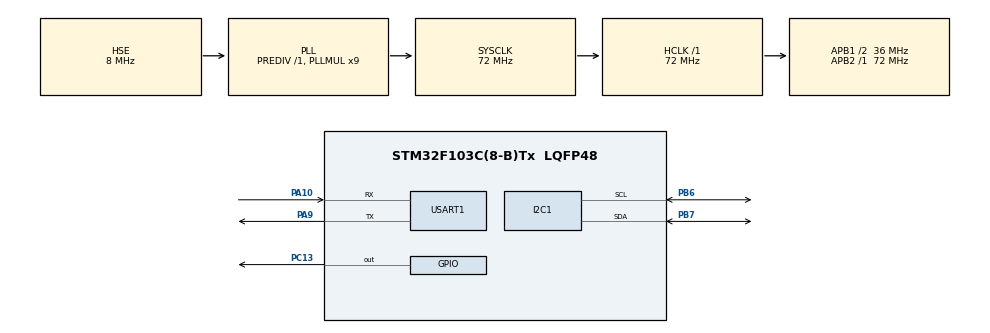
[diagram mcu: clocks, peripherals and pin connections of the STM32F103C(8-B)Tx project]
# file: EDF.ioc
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Mcu.Family=STM32F1
Mcu.Name=STM32F103C(8-B)Tx
Mcu.Package=LQFP48
NVIC.PriorityGroup=NVIC_PRIORITYGROUP_4
PA10.Mode=Asynchronous
PA10.Signal=USART1_RX
PA13.Mode=Serial_Wire
PA13.Signal=SYS_JTMS-SWDIO
PA14.Mode=Serial_Wire
PA14.Signal=SYS_JTCK-SWCLK
PA9.Mode=Asynchronous
PA9.Signal=USART1_TX
PB6.Mode=I2C
PB6.Signal=I2C1_SCL
PB7.Mode=I2C
PB7.Signal=I2C1_SDA
PC13-TAMPER-RTC.Signal=GPIO_Output
PC14-OSC32_IN.Mode=LSE-External-Oscillator
PC14-OSC32_IN.Signal=RCC_OSC32_IN
PC15-OSC32_OUT.Mode=LSE-External-Oscillator
PC15-OSC32_OUT.Signal=RCC_OSC32_OUT
PD0-OSC_IN.Mode=HSE-External-Oscillator
PD0-OSC_IN.Signal=RCC_OSC_IN
PD1-OSC_OUT.Mode=HSE-External-Oscillator
PD1-OSC_OUT.Signal=RCC_OSC_OUT
ProjectManager.HeapSize=0x200
ProjectManager.StackSize=0x400
ProjectManager.TargetToolchain=STM32CubeIDE
RCC.AHBFreq_Value=72000000
RCC.APB1CLKDivider=RCC_HCLK_DIV2
RCC.APB1Freq_Value=36000000
RCC.APB1TimFreq_Value=72000000
RCC.APB2Freq_Value=72000000
RCC.APB2TimFreq_Value=72000000
RCC.HCLKFreq_Value=72000000
RCC.PLLMUL=RCC_PLL_MUL9
RCC.PLLSourceVirtual=RCC_PLLSOURCE_HSE
RCC.SYSCLKFreq_VALUE=72000000
RCC.SYSCLKSource=RCC_SYSCLKSOURCE_PLLCLK
RCC.USBFreq_Value=72000000
USART1.VirtualMode=VM_ASYNC
board=custom

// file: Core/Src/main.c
/* USER CODE BEGIN Header */
/**
  ******************************************************************************
  * @file           : main.c
  * @brief          : Main program body
  ******************************************************************************
  * @attention
  *
  * Copyright (c) 2025 STMicroelectronics.
  * All rights reserved.
  *
  * This software is licensed under terms that can be found in the LICENSE file
  * in the root directory of this software component.
  * If no LICENSE file comes with this software, it is provided AS-IS.
  *
  ******************************************************************************
  */
/* USER CODE END Header */
#include "main.h"

/* USER CODE BEGIN Includes */
#include "liquidcrystal_i2c.h"
#include "stdio.h"
#include "MPR121.h"
#include "bmp180_for_stm32_hal.h"
#include "string.h"
#include "stdlib.h"
/* USER CODE END Includes */

/* USER CODE BEGIN PTD */
#include "funtion.h"
/* USER CODE END PTD */

I2C_HandleTypeDef hi2c1;

UART_HandleTypeDef huart1;

void SystemClock_Config(void);
static void MX_GPIO_Init(void);
static void MX_I2C1_Init(void);
static void MX_USART1_UART_Init(void);

int main(void)
{

  /* MCU Configuration--------------------------------------------------------*/

  /* Reset of all peripherals, Initializes the Flash interface and the Systick. */
  HAL_Init();

  /* Configure the system clock */
  SystemClock_Config();

  /* Initialize all configured peripherals */
  MX_GPIO_Init();
  MX_I2C1_Init();
  MX_USART1_UART_Init();
  /* USER CODE BEGIN 2 */
  HD44780_Init(2);
  MPR121_Init();
  BMP180_Init(&hi2c1);
  MPR121_Init();
  BMP180_SetOversampling(BMP180_ULTRA);
  BMP180_UpdateCalibrationData();
  HD44780_SetCursor(0,0);
  HD44780_PrintStr("INIT LCD 1602");
  char tx_buff[100] = "TVBAC 212700";
  unsigned long t1 = DWT->CYCCNT;
  /* do something */
  unsigned long t2 = DWT->CYCCNT;
  unsigned long diff = t2 - t1;

  /* USER CODE END 2 */

  /* Infinite loop */
  while (1)
  {

    /* USER CODE BEGIN 3 */
	  char tx[100] = "1";
	  t1 = DWT->CYCCNT;
	  HD44780_SetCursor(0,0);
	  HD44780_PrintStr("1111111111111111");
//	  touched();
//	  int32_t temperature = BMP180_GetRawTemperature();
//	  int32_t pressure = BMP180_GetPressure();
//	  HAL_UART_Transmit(&huart1, (uint8_t *)&tx, strlen(tx) , 1000);
	  t2 = DWT->CYCCNT;
	  diff = t2 - t1;
	  memset((void*)tx_buff,0,sizeof(tx_buff));
	  sprintf(tx_buff, "[%ld]", diff/72);
	  HD44780_SetCursor(0,1);
	  HD44780_PrintStr(tx_buff);

	  // Test UART
//	  char tx[100];
//	  for(int i = 1; i <= 50; i++)
//	  {
//		  memset((void*)tx,0,sizeof(tx));
//		  memset((void*)tx,'0',i);
////		  tx[i-1] = '\n';
//		  t1 = DWT->CYCCNT;
//		  HAL_UART_Transmit(&huart1, (uint8_t *)&tx, strlen(tx) , 1000);
//		  t2 = DWT->CYCCNT;
//		  diff = t2 - t1;
//		  sprintf(tx_buff, "] %d]]]%ld\n",i, diff/72);
//		  HAL_UART_Transmit(&huart1, (uint8_t *)&tx_buff, strlen(tx_buff) , 1000);
//		  HD44780_SetCursor(0,1);
//		  HD44780_PrintStr(tx_buff);
		  HAL_Delay(50);
//	  }
//	  HAL_Delay(20000);
  }
  /* USER CODE END 3 */
}

void SystemClock_Config(void)
{
  RCC_OscInitTypeDef RCC_OscInitStruct = {0};
  RCC_ClkInitTypeDef RCC_ClkInitStruct = {0};

  /** Initializes the RCC Oscillators according to the specified parameters
  * in the RCC_OscInitTypeDef structure.
  */
  RCC_OscInitStruct.OscillatorType = RCC_OSCILLATORTYPE_HSE;
  RCC_OscInitStruct.HSEState = RCC_HSE_ON;
  RCC_OscInitStruct.HSEPredivValue = RCC_HSE_PREDIV_DIV1;
  RCC_OscInitStruct.HSIState = RCC_HSI_ON;
  RCC_OscInitStruct.PLL.PLLState = RCC_PLL_ON;
  RCC_OscInitStruct.PLL.PLLSource = RCC_PLLSOURCE_HSE;
  RCC_OscInitStruct.PLL.PLLMUL = RCC_PLL_MUL9;
  if (HAL_RCC_OscConfig(&RCC_OscInitStruct) != HAL_OK)
  {
    Error_Handler();
  }

  /** Initializes the CPU, AHB and APB buses clocks
  */
  RCC_ClkInitStruct.ClockType = RCC_CLOCKTYPE_HCLK|RCC_CLOCKTYPE_SYSCLK
                              |RCC_CLOCKTYPE_PCLK1|RCC_CLOCKTYPE_PCLK2;
  RCC_ClkInitStruct.SYSCLKSource = RCC_SYSCLKSOURCE_PLLCLK;
  RCC_ClkInitStruct.AHBCLKDivider = RCC_SYSCLK_DIV1;
  RCC_ClkInitStruct.APB1CLKDivider = RCC_HCLK_DIV2;
  RCC_ClkInitStruct.APB2CLKDivider = RCC_HCLK_DIV1;

  if (HAL_RCC_ClockConfig(&RCC_ClkInitStruct, FLASH_LATENCY_2) != HAL_OK)
  {
    Error_Handler();
  }
}

static void MX_I2C1_Init(void)
{

  hi2c1.Instance = I2C1;
  hi2c1.Init.ClockSpeed = 100000;
  hi2c1.Init.DutyCycle = I2C_DUTYCYCLE_2;
  hi2c1.Init.OwnAddress1 = 0;
  hi2c1.Init.AddressingMode = I2C_ADDRESSINGMODE_7BIT;
  hi2c1.Init.DualAddressMode = I2C_DUALADDRESS_DISABLE;
  hi2c1.Init.OwnAddress2 = 0;
  hi2c1.Init.GeneralCallMode = I2C_GENERALCALL_DISABLE;
  hi2c1.Init.NoStretchMode = I2C_NOSTRETCH_DISABLE;
  if (HAL_I2C_Init(&hi2c1) != HAL_OK)
  {
    Error_Handler();
  }

}

static void MX_USART1_UART_Init(void)
{

  huart1.Instance = USART1;
  huart1.Init.BaudRate = 115200;
  huart1.Init.WordLength = UART_WORDLENGTH_8B;
  huart1.Init.StopBits = UART_STOPBITS_1;
  huart1.Init.Parity = UART_PARITY_NONE;
  huart1.Init.Mode = UART_MODE_TX_RX;
  huart1.Init.HwFlowCtl = UART_HWCONTROL_NONE;
  huart1.Init.OverSampling = UART_OVERSAMPLING_16;
  if (HAL_UART_Init(&huart1) != HAL_OK)
  {
    Error_Handler();
  }

}

static void MX_GPIO_Init(void)
{
  GPIO_InitTypeDef GPIO_InitStruct = {0};

  /* GPIO Ports Clock Enable */
  __HAL_RCC_GPIOC_CLK_ENABLE();
  __HAL_RCC_GPIOD_CLK_ENABLE();
  __HAL_RCC_GPIOA_CLK_ENABLE();
  __HAL_RCC_GPIOB_CLK_ENABLE();

  /*Configure GPIO pin Output Level */
  HAL_GPIO_WritePin(GPIOC, GPIO_PIN_13, GPIO_PIN_RESET);

  /*Configure GPIO pin : PC13 */
  GPIO_InitStruct.Pin = GPIO_PIN_13;
  GPIO_InitStruct.Mode = GPIO_MODE_OUTPUT_PP;
  GPIO_InitStruct.Pull = GPIO_NOPULL;
  GPIO_InitStruct.Speed = GPIO_SPEED_FREQ_LOW;
  HAL_GPIO_Init(GPIOC, &GPIO_InitStruct);

}

void Error_Handler(void)
{
  __disable_irq();
  while (1)
  {
  }
}
